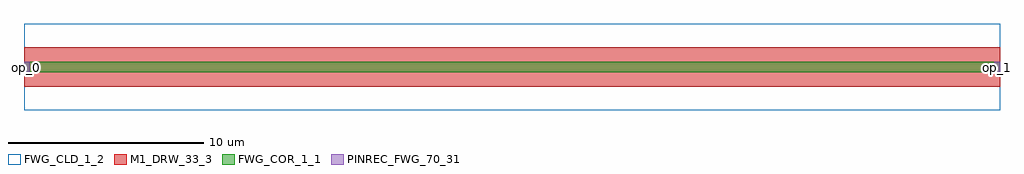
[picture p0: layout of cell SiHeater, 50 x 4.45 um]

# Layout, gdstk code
import gdstk
lib = gdstk.Library(unit=1e-6, precision=1e-09)
def R(c, l, rs):  # rectangles x0, y0, x1, y1
    for r in rs: c.add(gdstk.rectangle(r[:2], r[2:], *l))
def P(c, l, *ps):  # polygons
    for p in ps: c.add(gdstk.Polygon(p, *l))
FWG_COR_1_1 = (1, 1)
FWG_CLD_1_2 = (1, 2)
M1_DRW_33_3 = (33, 3)
PINREC_FWG_70_31 = (70, 31)

c_wg = lib.new_cell('wg')
R(c_wg, FWG_COR_1_1, [(0,-0.275,50,0.275)])
P(c_wg, FWG_CLD_1_2, [(0,2.225),(50,2.225),(50,0.275),(50,-0.275),(50,-2.225),(0,-2.225),(0,-0.275),(0,0.275)])
R(c_wg, PINREC_FWG_70_31, [(0,-0.275,0.3,0.275), (49.7,-0.275,50,0.275)])
c_wg.add(gdstk.Label('op_0', (0.15,0), layer=70, texttype=41))
c_wg.add(gdstk.Label('op_1', (49.85,0), layer=70, texttype=41))

straight_wg = lib.new_cell('Straight_wg')
R(straight_wg, PINREC_FWG_70_31, [(0,-0.275,0.3,0.275), (49.7,-0.275,50,0.275)])
straight_wg.add(gdstk.Reference(c_wg, (0,0)))
straight_wg.add(gdstk.Label('op_0', (0.15,0), layer=70, texttype=41))
straight_wg.add(gdstk.Label('op_1', (49.85,0), layer=70, texttype=41))

siheater = lib.new_cell('SiHeater')
R(siheater, M1_DRW_33_3, [(0,-1,50,1)])
R(siheater, PINREC_FWG_70_31, [(0,-0.275,0.3,0.275), (49.7,-0.275,50,0.275)])
siheater.add(gdstk.Reference(straight_wg, (0,0)))
siheater.add(gdstk.Label('op_0', (0.15,0), layer=70, texttype=41))
siheater.add(gdstk.Label('op_1', (49.85,0), layer=70, texttype=41))

lib.write_gds('SiHeater.gds')
